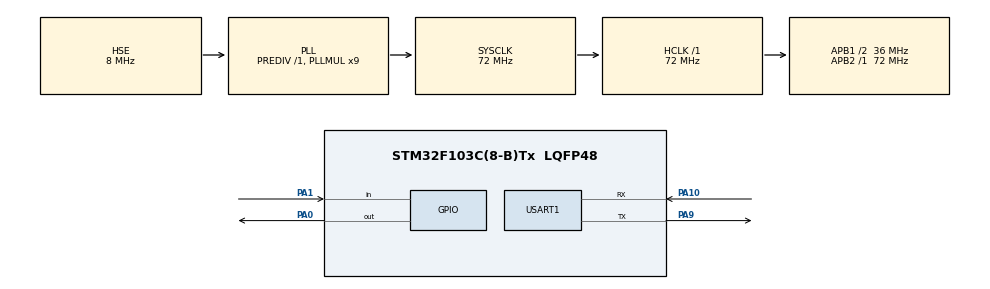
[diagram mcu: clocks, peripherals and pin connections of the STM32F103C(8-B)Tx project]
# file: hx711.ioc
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Mcu.Family=STM32F1
Mcu.Name=STM32F103C(8-B)Tx
Mcu.Package=LQFP48
NVIC.PriorityGroup=NVIC_PRIORITYGROUP_4
NVIC.TIM2_IRQn=true\:0\:0\:false\:false\:true\:true\:true\:true
PA0-WKUP.GPIO_PuPd=GPIO_NOPULL
PA0-WKUP.GPIO_Speed=GPIO_SPEED_FREQ_HIGH
PA0-WKUP.PinState=GPIO_PIN_RESET
PA0-WKUP.Signal=GPIO_Output
PA1.Signal=GPIO_Input
PA10.Mode=Asynchronous
PA10.Signal=USART1_RX
PA13.Mode=Serial_Wire
PA13.Signal=SYS_JTMS-SWDIO
PA14.Mode=Serial_Wire
PA14.Signal=SYS_JTCK-SWCLK
PA9.Mode=Asynchronous
PA9.Signal=USART1_TX
PD0-OSC_IN.Mode=HSE-External-Oscillator
PD0-OSC_IN.Signal=RCC_OSC_IN
PD1-OSC_OUT.Mode=HSE-External-Oscillator
PD1-OSC_OUT.Signal=RCC_OSC_OUT
ProjectManager.HeapSize=0x200
ProjectManager.StackSize=0x400
ProjectManager.TargetToolchain=MDK-ARM V5.32
RCC.AHBFreq_Value=72000000
RCC.APB1CLKDivider=RCC_HCLK_DIV2
RCC.APB1Freq_Value=36000000
RCC.APB1TimFreq_Value=72000000
RCC.APB2Freq_Value=72000000
RCC.APB2TimFreq_Value=72000000
RCC.HCLKFreq_Value=72000000
RCC.PLLMUL=RCC_PLL_MUL9
RCC.PLLSourceVirtual=RCC_PLLSOURCE_HSE
RCC.SYSCLKFreq_VALUE=72000000
RCC.SYSCLKSource=RCC_SYSCLKSOURCE_PLLCLK
RCC.USBFreq_Value=72000000
TIM2.Period=100-1
TIM2.Prescaler=72-1
USART1.VirtualMode=VM_ASYNC
VP_TIM2_VS_ClockSourceINT.Mode=Internal
board=custom

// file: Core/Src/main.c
/* USER CODE BEGIN Header */
/**
  ******************************************************************************
  * @file           : main.c
  * @brief          : Main program body
  ******************************************************************************
  * @attention
  *
  * Copyright (c) 2024 STMicroelectronics.
  * All rights reserved.
  *
  * This software is licensed under terms that can be found in the LICENSE file
  * in the root directory of this software component.
  * If no LICENSE file comes with this software, it is provided AS-IS.
  *
  ******************************************************************************
  */
/* USER CODE END Header */
#include "main.h"
#include "tim.h"
#include "usart.h"
#include "gpio.h"

#ifndef HX711_EXPERIMENTAL
#define HX711_EXPERIMENTAL 1 /* 总开关：1 开启实验性功能，0 关闭 */
#endif

/* USER CODE BEGIN Includes */
#include "stdio.h"
#include "hx711.h"
#include "OLED.h"
#include "Filteringalgorithm.h"
#include "Linearization.h"
/* USER CODE END Includes */

/* USER CODE BEGIN PTD */

long weight = 0;
static long raw_display = 0;
float weight_value = 0.0f;
static float display_value = 0.0f;
static int32_t locked_int = 0;
static uint8_t display_locked = 0U;

/* USER CODE END PTD */

/* USER CODE BEGIN PD */
int fputc(int ch, FILE *f)
{
  HAL_UART_Transmit(&huart1, (uint8_t *)&ch, 1, 0xff);
  return (ch);
}

/* USER CODE END PD */

void SystemClock_Config(void);
/* USER CODE BEGIN PFP */
void OLED_ShowFloat(uint8_t Line, uint8_t Column, float Number, uint8_t DecimalLength);
static void OLED_ShowHeader(void);

/* USER CODE END PFP */

/* USER CODE BEGIN 0 */

static void OLED_ShowHeader(void)
{
  OLED_ShowString(1, 1, "RawCnt:");
  OLED_ShowString(3, 1, "Weight(g):");
}

/* USER CODE END 0 */

int main(void)
{

  /* MCU Configuration--------------------------------------------------------*/

  /* Reset of all peripherals, Initializes the Flash interface and the Systick. */
  HAL_Init();

  /* Configure the system clock */
  SystemClock_Config();

  /* Initialize all configured peripherals */
  MX_GPIO_Init();
  MX_USART1_UART_Init();
  MX_TIM2_Init();
  /* USER CODE BEGIN 2 */
  OLED_Init();
  OLED_ShowHeader();
  OLED_ShowString(4, 1, "Wait HX711...  ");
  (void)Get_number();

  OLED_ShowString(4, 1, "Stabilizing    ");
  HAL_Delay(5000);
  OLED_ShowString(4, 1, "                ");
  HAL_Delay(1000);
  /* 过滤初始化在 Get_Weight 内延迟进行，此处无需去皮基线 */

  /* USER CODE END 2 */

  /* Infinite loop */
  /* USER CODE BEGIN WHILE */
  while (1)
  {
    weight = Get_Weight();
    raw_display = weight;
    weight_value = Linearization_Apply((float)weight);
    /* 空载残留约 1g，放宽近零阈值到 ±1.5g 后置零显示 */
    if ((weight_value < 1.5f) && (weight_value > -1.5f))
    {
      weight_value = 0.0f;
    }

    int32_t current_int = (int32_t)(weight_value >= 0.0f ? (weight_value + 0.5f) : (weight_value - 0.5f));

    if (display_locked)
    {
      if (current_int != locked_int)
      {
        display_locked = 0U;
      }
    }

    if (!display_locked)
    {
      static int32_t last_int = 0;
      static uint32_t last_change_tick = 0U;

      if (current_int != last_int)
      {
        last_int = current_int;
        last_change_tick = HAL_GetTick();
      }
      else if ((current_int != 0) && ((HAL_GetTick() - last_change_tick) >= 3000U))
      {
        display_locked = 1U;
        locked_int = current_int;
        display_value = weight_value;
      }

      if (!display_locked)
      {
        display_value = weight_value;
      }
    }

#if HX711_EXPERIMENTAL
    uint32_t exp_ev = HX711_GetAndClearExpEvents();
    if (exp_ev != 0U)
    {
      OLED_ShowString(1, 1, " EXPERIMENTAL   ");
      OLED_ShowString(2, 1, " EVENT TRIGGER  ");
      if (exp_ev & HX711_EXP_EVT_STARTUP_TARE)
      {
        OLED_ShowString(3, 1, " Startup Tare   ");
      }
      else
      {
        OLED_ShowString(3, 1, "                ");
      }
      if (exp_ev & HX711_EXP_EVT_AUTOZERO)
      {
        OLED_ShowString(4, 1, " Auto Zero Adj  ");
      }
      else
      {
        OLED_ShowString(4, 1, "                ");
      }
      HAL_Delay(1000);
      OLED_ShowHeader();
    }
#endif

    OLED_ShowFloat(2, 1, (float)raw_display, 0);
    OLED_ShowFloat(4, 1, display_value, 2);
    printf("%.2f\r\n", (double)display_value);
    HAL_Delay(120);

    /* USER CODE END WHILE */

  }
}

void SystemClock_Config(void)
{
  RCC_OscInitTypeDef RCC_OscInitStruct = {0};
  RCC_ClkInitTypeDef RCC_ClkInitStruct = {0};

  RCC_OscInitStruct.OscillatorType = RCC_OSCILLATORTYPE_HSE;
  RCC_OscInitStruct.HSEState = RCC_HSE_ON;
  RCC_OscInitStruct.HSEPredivValue = RCC_HSE_PREDIV_DIV1;
  RCC_OscInitStruct.HSIState = RCC_HSI_ON;
  RCC_OscInitStruct.PLL.PLLState = RCC_PLL_ON;
  RCC_OscInitStruct.PLL.PLLSource = RCC_PLLSOURCE_HSE;
  RCC_OscInitStruct.PLL.PLLMUL = RCC_PLL_MUL9;
  if (HAL_RCC_OscConfig(&RCC_OscInitStruct) != HAL_OK)
  {
    Error_Handler();
  }

  RCC_ClkInitStruct.ClockType = RCC_CLOCKTYPE_HCLK|RCC_CLOCKTYPE_SYSCLK
                              |RCC_CLOCKTYPE_PCLK1|RCC_CLOCKTYPE_PCLK2;
  RCC_ClkInitStruct.SYSCLKSource = RCC_SYSCLKSOURCE_PLLCLK;
  RCC_ClkInitStruct.AHBCLKDivider = RCC_SYSCLK_DIV1;
  RCC_ClkInitStruct.APB1CLKDivider = RCC_HCLK_DIV2;
  RCC_ClkInitStruct.APB2CLKDivider = RCC_HCLK_DIV1;

  if (HAL_RCC_ClockConfig(&RCC_ClkInitStruct, FLASH_LATENCY_2) != HAL_OK)
  {
    Error_Handler();
  }
}

/* USER CODE BEGIN 4 */
void HAL_TIM_PeriodElapsedCallback(TIM_HandleTypeDef *htim)
{
}
/* USER CODE END 4 */

void Error_Handler(void)
{
  __disable_irq();
  while (1)
  {
  }
}
